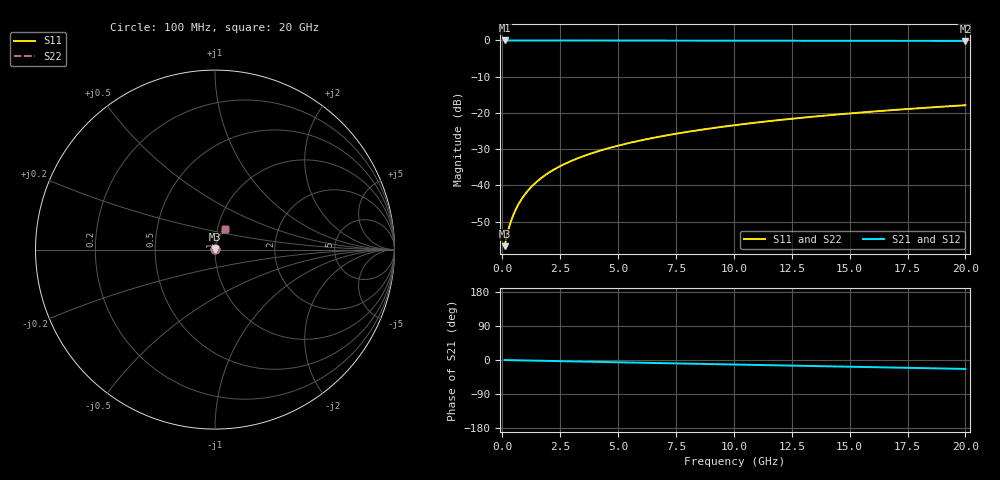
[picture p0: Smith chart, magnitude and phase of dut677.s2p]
! Touchstone file exported from HFSS 2026.1.0
!  File:  C:/ffzhzh/LocalFiles/Ansys_Project_Files/temp_train_TMRDL_677_1783010051_4048.aedt
!  Generated:  12:35:31 AM Jul  3, 2026
!  Design:  TMRDL
!  Project:  temp_train_TMRDL_677_1783010051_4048
! Variables:
!  h_bsmrdl = 2um
!  h_ox = 20um
!  h_rdl = 5um
!  h_sub = 80um
!  h_tmrdl = 5.39um
!  h_tsv = 80um
!  h_via = 3um
!  l_bsmrdl = 300um
!  l_sub = 779.06um
!  l_tmrdl = 379.06um
!  m_sub = 200um
!  pitch = 40.77um
!  r_tsv = 6um
!  s_tmrdl = 10um
!  w_bsmrdl = 18um
!  w_sub = 500um
!  w_tmrdl = 27.23um
!  x_tsv_center1 = 392.675um
!  x_tsv_center2 = 710.675um
!  x_tsv_center3 = 1116.965um
!  x_tsv_center4 = 1434.965um
!  x_tsv_center5 = 1841.255um
!  x_tsv_center6 = 2159.255um
# GHz S MA R 50.000000
! Terminal data exported
! Port[1] = TM_RDL1_1_T1
! Port[2] = TM_RDL1_1_T2
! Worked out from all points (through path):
!   200 points, 100 MHz to 20 GHz, reference 50 ohm
!   highest |S21| = -0.01 dB at 100 MHz (marker M1); lowest = -0.1 dB at 20 GHz (marker M2)
!   group delay of S21, straight-line fit = 3.26 ps
!   lowest |S11| = -56.8 dB at 100 MHz (marker M3), VSWR 1.00, Z = 50.1 + j0.0917 ohm
!   |S11| at or under -10 dB: start of sweep to end of sweep
!   |S22| runs from -56.8 to -17.9 dB; largest |S21 - S12| = 3.6e-15
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0.1  0.001452 39.0  0.9989 -0.1  0.9989 -0.1  0.001452 39.0
! Gamma 0 0 0 0
! Port Impedance 50 0 50 0
0.2  0.002071 52.9  0.9987 -0.3  0.9987 -0.3  0.002072 52.9
0.3  0.00271 61.1  0.9986 -0.4  0.9986 -0.4  0.002711 61.1
0.4  0.003382 66.4  0.9986 -0.5  0.9986 -0.5  0.003383 66.3
0.5  0.004078 69.9  0.9985 -0.6  0.9985 -0.6  0.004079 69.9
0.6  0.004789 72.4  0.9985 -0.7  0.9985 -0.7  0.004789 72.4
0.8  0.006234 75.6  0.9984 -1.0  0.9984 -1.0  0.006234 75.6
1.1  0.008421 78.0  0.9983 -1.4  0.9983 -1.4  0.008421 78.0
1.3  0.009878 78.8  0.9982 -1.6  0.9982 -1.6  0.009878 78.8
1.5  0.01133 79.3  0.9981 -1.8  0.9981 -1.8  0.01133 79.3
1.8  0.01349 79.7  0.9979 -2.2  0.9979 -2.2  0.01349 79.7
2.1  0.01563 79.8  0.9978 -2.6  0.9978 -2.6  0.01563 79.8
2.7  0.01984 79.7  0.9974 -3.3  0.9974 -3.3  0.01984 79.7
3.5  0.02532 79.3  0.9968 -4.3  0.9968 -4.3  0.02532 79.3
4.2  0.03003 78.8  0.9964 -5.1  0.9964 -5.1  0.03003 78.8
5  0.03534 78.1  0.9958 -6.0  0.9958 -6.0  0.03534 78.1
6.8  0.04709 76.6  0.9946 -8.2  0.9946 -8.2  0.04709 76.6
8.3  0.05673 75.2  0.9936 -9.9  0.9936 -9.9  0.05673 75.2
10.1  0.06815 73.5  0.9924 -12.1  0.9924 -12.1  0.06815 73.5
13.4  0.08864 70.1  0.9899 -15.9  0.9899 -15.9  0.08864 70.1
16.7  0.1085 66.7  0.9872 -19.8  0.9872 -19.8  0.1085 66.6
20  0.1277 63.1  0.9843 -23.6  0.9843 -23.6  0.1277 63.1
